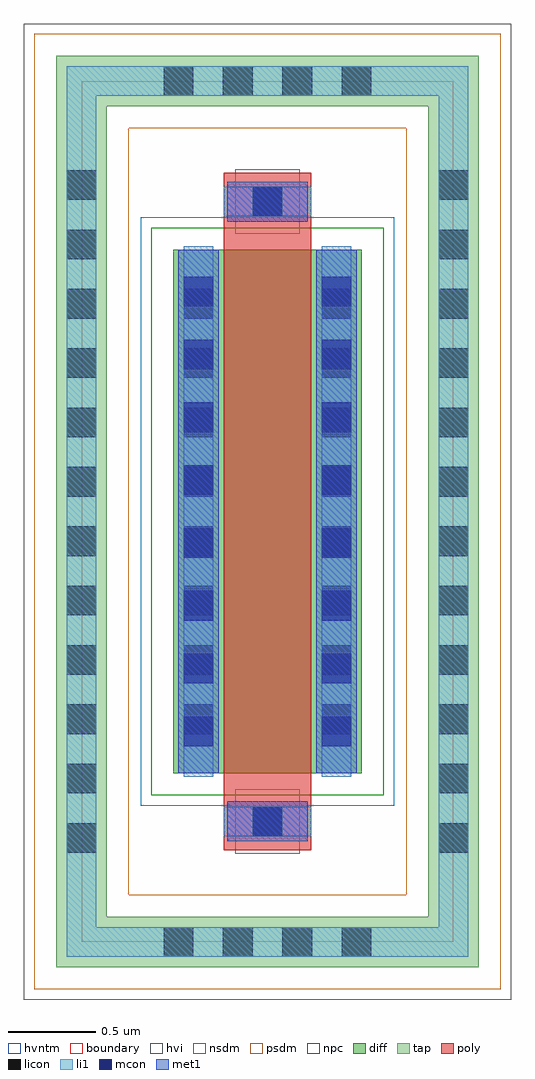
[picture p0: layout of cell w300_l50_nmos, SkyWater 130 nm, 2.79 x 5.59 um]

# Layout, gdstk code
import gdstk
lib = gdstk.Library(unit=1e-6, precision=1e-09)
def R(c, l, rs):  # rectangles x0, y0, x1, y1
    for r in rs: c.add(gdstk.rectangle(r[:2], r[2:], *l))
def A(c, l, x, y, w, h, nx, ny, dx, dy):  # array of equal rectangles
    R(c, l, [(x+i*dx, y+j*dy, x+i*dx+w, y+j*dy+h) for i in range(nx) for j in range(ny)])
diff = (65, 20)
tap = (65, 44)
poly = (66, 20)
licon = (66, 44)
li1 = (67, 20)
mcon = (67, 44)
met1 = (68, 20)
hvi = (75, 20)
nsdm = (93, 44)
psdm = (94, 20)
npc = (95, 20)
hvntm = (125, 20)
boundary = (235, 4)

sky130_fd_pr__nfet_g5v0d = lib.new_cell('sky130_fd_pr__nfet_g5v0d10v5')

w300_l50_nmos = lib.new_cell('w300_l50_nmos')
R(w300_l50_nmos, diff, [(-0.54,-1.5,0.54,1.5)])
R(w300_l50_nmos, tap, [(-1.21,-2.61,1.21,-2.32), (-1.21,-2.32,-0.92,2.32), (0.92,-2.32,1.21,2.32), (-1.21,2.32,1.21,2.61)])
R(w300_l50_nmos, poly, [(-0.25,-1.94,0.25,1.94)])
A(w300_l50_nmos, licon, -0.595, -2.55, 0.17, 0.17, 4, 2, 0.34, 4.93)
A(w300_l50_nmos, licon, -1.15, -1.955, 0.17, 0.17, 1, 12, 0, 0.34)
A(w300_l50_nmos, licon, 0.98, -1.955, 0.17, 0.17, 1, 12, 0, 0.34)
A(w300_l50_nmos, licon, -0.48, -1.275, 0.17, 0.17, 1, 8, 0, 0.34)
A(w300_l50_nmos, licon, 0.31, -1.275, 0.17, 0.17, 1, 8, 0, 0.34)
R(w300_l50_nmos, licon, [(-0.085,-1.86,0.085,-1.69), (-0.085,1.69,0.085,1.86)])
R(w300_l50_nmos, li1, [(-1.15,-2.55,1.15,-2.38), (-1.15,-2.38,-0.98,2.38), (0.98,-2.38,1.15,2.38), (-0.25,-1.86,0.25,-1.69), (-0.48,-1.52,-0.31,1.52), (0.31,-1.52,0.48,1.52), (-0.25,1.69,0.25,1.86), (-1.15,2.38,1.15,2.55)])
A(w300_l50_nmos, mcon, -0.48, -1.345, 0.17, 0.17, 1, 8, 0, 0.36)
A(w300_l50_nmos, mcon, 0.31, -1.345, 0.17, 0.17, 1, 8, 0, 0.36)
R(w300_l50_nmos, mcon, [(-0.085,-1.86,0.085,-1.69), (-0.085,1.69,0.085,1.86)])
R(w300_l50_nmos, met1, [(-0.23,-1.89,0.23,-1.66), (-0.51,-1.5,-0.28,1.5), (0.28,-1.5,0.51,1.5), (-0.23,1.66,0.23,1.89)])
R(w300_l50_nmos, hvi, [(-1.395,-2.795,1.395,2.795)])
R(w300_l50_nmos, nsdm, [(-0.665,-1.625,0.665,1.625)])
R(w300_l50_nmos, psdm, [(-1.335,-2.735,1.335,-2.195), (-1.335,-2.195,-0.795,2.195), (0.795,-2.195,1.335,2.195), (-1.335,2.195,1.335,2.735)])
R(w300_l50_nmos, npc, [(-0.185,-1.96,0.185,-1.59), (-0.185,1.59,0.185,1.96)])
R(w300_l50_nmos, hvntm, [(-0.725,-1.685,0.725,1.685)])
R(w300_l50_nmos, boundary, [(-1.065,-2.465,1.065,2.465)])
w300_l50_nmos.add(gdstk.Reference(sky130_fd_pr__nfet_g5v0d, (0,0)))

lib.write_gds('w300_l50_nmos.gds')
